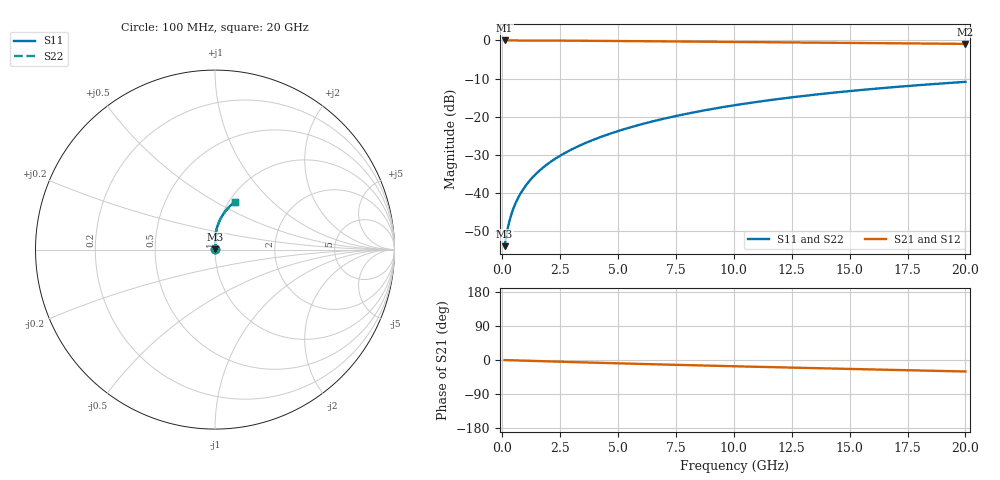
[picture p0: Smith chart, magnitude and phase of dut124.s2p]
! Touchstone file exported from HFSS 2024.1.0
!  File:  C:/UserFiles/LocalFiles/RDL_TSV_Batchsim/temp_RDL_bottom_124_1778696178.aedt
!  Generated:  02:18:29 AM May 14, 2026
!  Design:  RDL_bottom
!  Project:  temp_RDL_bottom_124_1778696178
!  Setup:  Setup1
!  Solution:  Sweep
! Variables:
!  dtsv = 10.80580581um
!  hbump = 3um
!  htsv = 66.72um
!  ldown = 416.73um
!  lrdl = 100um
!  p = 40
!  p1 = 54.55um
!  rhole = 1um
!  t = 450um
!  tdown = 4.48um
!  trdl = 3.915915916um
!  wdown = 25.05um
!  wrdl = 20um
# GHz S MA R 50.000000
! Terminal data exported
! Port[1] = RDL1_T1
! Port[2] = RDL1_T2
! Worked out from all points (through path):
!   200 points, 100 MHz to 20 GHz, reference 50 ohm
!   highest |S21| = -0.01 dB at 100 MHz (marker M1); lowest = -0.9 dB at 20 GHz (marker M2)
!   group delay of S21, straight-line fit = 4.15 ps
!   lowest |S11| = -53.9 dB at 100 MHz (marker M3), VSWR 1.00, Z = 50.2 + j0.135 ohm
!   |S11| at or under -10 dB: start of sweep to end of sweep
!   |S22| runs from -53.9 to -10.9 dB; largest |S21 - S12| = 3.4e-15
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0.1  0.002019 41.8  0.9985 -0.2  0.9985 -0.2  0.002019 41.8
! Gamma 0 0 0 0
! Port Impedance 50 0 50 0
0.2  0.003084 58.9  0.9984 -0.4  0.9984 -0.4  0.003084 58.9
0.3  0.004228 66.5  0.9982 -0.6  0.9982 -0.6  0.004229 66.5
0.4  0.005378 71.0  0.9981 -0.8  0.9981 -0.8  0.005378 71.0
0.5  0.006528 74.0  0.998 -0.9  0.998 -0.9  0.006529 74.0
0.6  0.007685 76.3  0.9979 -1.1  0.9979 -1.1  0.007685 76.3
0.8  0.01002 79.5  0.9976 -1.5  0.9976 -1.5  0.01002 79.4
1.1  0.01358 82.4  0.9971 -2.0  0.9971 -2.0  0.01358 82.4
1.5  0.01842 84.7  0.9963 -2.8  0.9963 -2.8  0.01842 84.7
1.8  0.0221 85.8  0.9956 -3.3  0.9956 -3.3  0.0221 85.8
2.1  0.02585 86.7  0.9947 -3.8  0.9947 -3.8  0.02585 86.7
2.7  0.0335 87.8  0.9927 -4.9  0.9927 -4.9  0.0335 87.8
3.5  0.04407 88.5  0.9894 -6.3  0.9894 -6.3  0.04406 88.5
4.2  0.05366 88.8  0.9862 -7.5  0.9862 -7.5  0.05364 88.7
5  0.06499 88.6  0.9822 -8.8  0.9822 -8.8  0.06496 88.6
6.8  0.09166 87.4  0.9725 -11.7  0.9725 -11.7  0.09161 87.3
8.4  0.1162 85.5  0.9638 -14.1  0.9638 -14.1  0.1162 85.4
10.1  0.1427 83.0  0.9545 -16.7  0.9545 -16.7  0.1426 83.0
11.7  0.1674 80.6  0.9458 -19.0  0.9458 -19.0  0.1673 80.5
13.4  0.1933 77.9  0.9367 -21.4  0.9367 -21.4  0.1931 77.9
16.7  0.2415 72.7  0.9188 -25.9  0.9188 -25.9  0.2414 72.6
20  0.2865 67.6  0.9008 -30.3  0.9008 -30.3  0.2863 67.6
